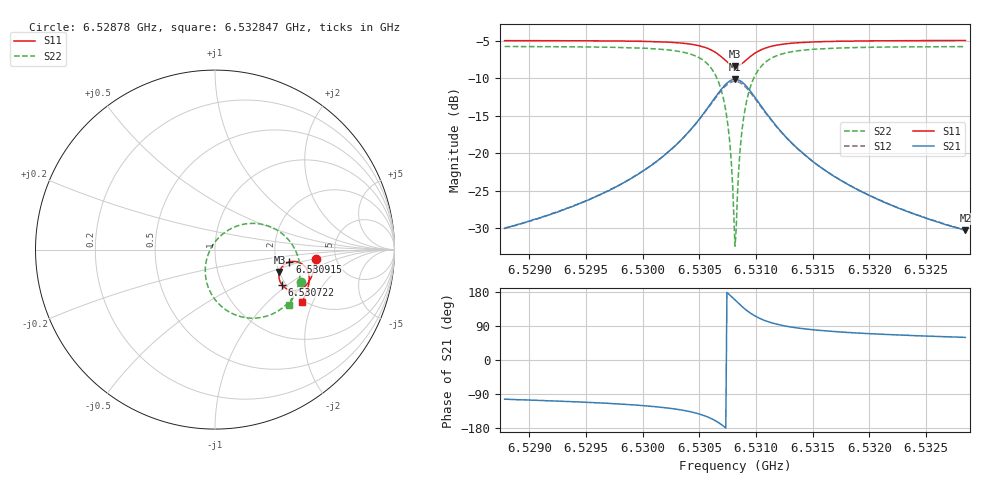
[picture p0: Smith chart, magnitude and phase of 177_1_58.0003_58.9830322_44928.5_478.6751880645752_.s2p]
#  HZ  S  RI  R  50.00
! Rohde & Schwarz Vector Network Analyzer
! Rohde-Schwarz,ZNB20-2Port,1311601062101988,3.16
! Created: UTC 3/21/2024, 12:58:10 AM
! freq[Hz]  re:S11  im:S11  re:S21  im:S21  re:S12  im:S12  re:S22  im:S22
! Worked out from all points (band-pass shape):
!   401 points, 6.52878 GHz to 6.532847 GHz, reference 50 ohm
!   highest |S21| = -10.15 dB at 6.530814 GHz (marker M1); lowest = -30.3 dB at 6.532847 GHz (marker M2)
!   |S21| within 3 dB of the highest: 6.530611 GHz to 6.531018 GHz (406.9 kHz wide, 0.00623 % of centre)
!   lowest |S11| = -8.4 dB at 6.530814 GHz (marker M3), VSWR 2.23, Z = 100 - j29.3 ohm
!   |S11| at or under -10 dB: nowhere
!   |S22| runs from -32.4 to -5.8 dB; largest |S21 - S12| = 0.013
!   S11 on the Smith chart (normalised r, x): 6.52878 GHz: 3.49, -0.52; 6.530722 GHz: 1.91, -0.90; 6.530915 GHz: 2.37, -0.40; 6.532847 GHz: 1.93, -1.66
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6.5287804e9  0.5604 -0.0508  -0.00744 -0.0307  -0.00795 -0.0306  0.4814 -0.1806
6.5294615e9  0.5511 -0.108  -0.0168 -0.0438  -0.0179 -0.0434  0.4494 -0.2438
6.5301426e9  0.524 -0.177  -0.0511 -0.0751  -0.0531 -0.0737  0.3657 -0.3327
6.5303764e9  0.4973 -0.2074  -0.0911 -0.0949  -0.094 -0.0916  0.2838 -0.3719
6.5305492e9  0.4536 -0.2274  -0.1601 -0.1015  -0.1626 -0.0948  0.1559 -0.3763
6.5306509e9  0.408 -0.2226  -0.2307 -0.0749  -0.2298 -0.065  0.0379 -0.3181
6.530722e9  0.3724 -0.1953  -0.2826 -0.0156  -0.2768 -0.00536  -0.0383 -0.2083
6.5307627e9  0.3587 -0.1672  -0.299 0.0379  -0.2898 0.0464  -0.0542 -0.1164
6.5307729e9  0.357 -0.159  -0.2999 0.0529  -0.2901 0.0606  -0.053 -0.0915
6.5308034e9  0.3571 -0.1334  -0.2942 0.0992  -0.283 0.104  -0.0342 -0.0171
6.5308135e9  0.359 -0.1248  -0.2892 0.1142  -0.2778 0.1181  -0.0231 0.00659
6.5308237e9  0.3618 -0.1165  -0.2827 0.1287  -0.2713 0.1315  -0.00965 0.0291
6.5308339e9  0.3655 -0.1085  -0.2748 0.1425  -0.2636 0.1442  0.00568 0.05
6.5308542e9  0.3752 -0.0944  -0.2556 0.1668  -0.245 0.1669  0.042 0.086
6.5308745e9  0.387 -0.0828  -0.2329 0.1863  -0.2234 0.1849  0.0827 0.1136
6.5309152e9  0.4141 -0.0688  -0.1835 0.21  -0.1764 0.2069  0.1688 0.1431
6.5309864e9  0.4578 -0.0679  -0.1072 0.2123  -0.1034 0.2091  0.297 0.1313
6.531088e9  0.4962 -0.0898  -0.0414 0.181  -0.0395 0.1793  0.4029 0.0623
6.5312405e9  0.5188 -0.1257  -0.00145 0.1339  -0.000197 0.1332  0.4606 -0.0347
6.5314946e9  0.5247 -0.1693  0.0154 0.0875  0.0165 0.0871  0.4745 -0.1329
6.5321757e9  0.508 -0.2406  0.0177 0.0419  0.0185 0.0418  0.445 -0.2494
6.5328466e9  0.4832 -0.292  0.0155 0.0264  0.016 0.0261  0.4101 -0.3092
